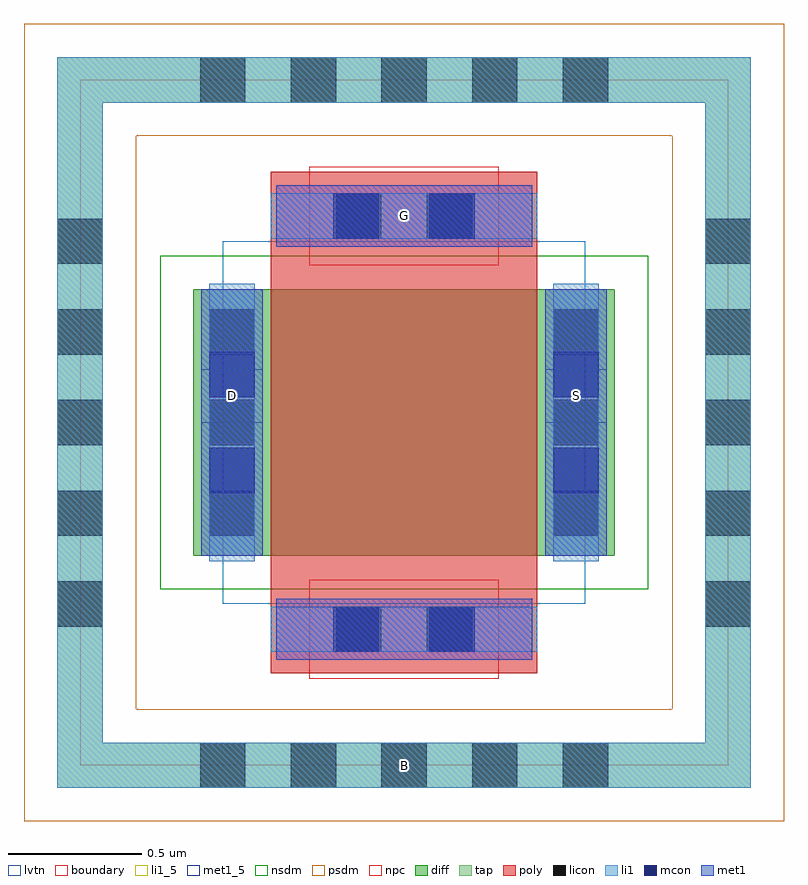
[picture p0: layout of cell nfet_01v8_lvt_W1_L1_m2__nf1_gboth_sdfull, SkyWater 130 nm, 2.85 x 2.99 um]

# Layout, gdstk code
import gdstk
lib = gdstk.Library(unit=1e-6, precision=1e-09)
def R(c, l, rs):  # rectangles x0, y0, x1, y1
    for r in rs: c.add(gdstk.rectangle(r[:2], r[2:], *l))
def A(c, l, x, y, w, h, nx, ny, dx, dy):  # array of equal rectangles
    R(c, l, [(x+i*dx, y+j*dy, x+i*dx+w, y+j*dy+h) for i in range(nx) for j in range(ny)])
diff = (65, 20)
tap = (65, 44)
poly = (66, 20)
licon = (66, 44)
li1_5 = (67, 5)
li1 = (67, 20)
mcon = (67, 44)
met1_5 = (68, 5)
met1 = (68, 20)
nsdm = (93, 44)
psdm = (94, 20)
npc = (95, 20)
lvtn = (125, 44)
boundary = (235, 4)

sky130_fd_pr__nfet_01v8_ = lib.new_cell('sky130_fd_pr__nfet_01v8_lvt_G6PFY8')
R(sky130_fd_pr__nfet_01v8_, diff, [(-0.79,-0.5,0.79,0.5)])
R(sky130_fd_pr__nfet_01v8_, tap, [(-1.3,-1.37,1.3,-1.2), (-1.3,-1.2,-1.13,1.2), (1.13,-1.2,1.3,1.2), (-1.3,1.2,1.3,1.37)])
R(sky130_fd_pr__nfet_01v8_, poly, [(-0.5,-0.94,0.5,0.94)])
A(sky130_fd_pr__nfet_01v8_, licon, -0.765, -1.37, 0.17, 0.17, 5, 2, 0.34, 2.57)
A(sky130_fd_pr__nfet_01v8_, licon, -1.3, -0.765, 0.17, 0.17, 1, 5, 0, 0.34)
A(sky130_fd_pr__nfet_01v8_, licon, 1.13, -0.765, 0.17, 0.17, 1, 5, 0, 0.34)
A(sky130_fd_pr__nfet_01v8_, licon, -0.73, -0.425, 0.17, 0.17, 1, 3, 0, 0.34)
A(sky130_fd_pr__nfet_01v8_, licon, 0.56, -0.425, 0.17, 0.17, 1, 3, 0, 0.34)
R(sky130_fd_pr__nfet_01v8_, licon, [(-0.255,-0.86,-0.085,-0.69), (0.085,-0.86,0.255,-0.69), (-0.255,0.69,-0.085,0.86), (0.085,0.69,0.255,0.86)])
R(sky130_fd_pr__nfet_01v8_, li1, [(-1.3,-1.37,1.3,-1.2), (-1.3,-1.2,-1.13,1.2), (1.13,-1.2,1.3,1.2), (-0.5,-0.86,0.5,-0.69), (-0.73,-0.52,-0.56,0.52), (0.56,-0.52,0.73,0.52), (-0.5,0.69,0.5,0.86), (-1.3,1.2,1.3,1.37)])
R(sky130_fd_pr__nfet_01v8_, mcon, [(-0.265,-0.86,-0.095,-0.69), (0.095,-0.86,0.265,-0.69), (-0.73,-0.265,-0.56,-0.095), (0.56,-0.265,0.73,-0.095), (-0.73,0.095,-0.56,0.265), (0.56,0.095,0.73,0.265), (-0.265,0.69,-0.095,0.86), (0.095,0.69,0.265,0.86)])
R(sky130_fd_pr__nfet_01v8_, met1, [(-0.48,-0.89,0.48,-0.66), (-0.76,-0.5,-0.53,0.5), (0.53,-0.5,0.76,0.5), (-0.48,0.66,0.48,0.89)])
R(sky130_fd_pr__nfet_01v8_, nsdm, [(-0.915,-0.625,0.915,0.625)])
R(sky130_fd_pr__nfet_01v8_, psdm, [(-1.425,-1.495,1.425,-1.075), (-1.425,-1.075,-1.005,1.075), (1.005,-1.075,1.425,1.075), (-1.425,1.075,1.425,1.495)])
R(sky130_fd_pr__nfet_01v8_, npc, [(-0.355,-0.96,0.355,-0.59), (-0.355,0.59,0.355,0.96)])
R(sky130_fd_pr__nfet_01v8_, lvtn, [(-0.68,-0.68,0.68,0.68)])
R(sky130_fd_pr__nfet_01v8_, boundary, [(-1.215,-1.285,1.215,1.285)])
sky130_fd_pr__nfet_01v8_.add(gdstk.Label('B', (0,-1.285), layer=67, texttype=5))
sky130_fd_pr__nfet_01v8_.add(gdstk.Label('D', (-0.645,0), layer=67, texttype=5))
sky130_fd_pr__nfet_01v8_.add(gdstk.Label('S', (0.645,0), layer=67, texttype=5))
sky130_fd_pr__nfet_01v8_.add(gdstk.Label('G', (0,0.775), layer=67, texttype=5))

nfet_01v8_lvt_w1_l1_m2__ = lib.new_cell('nfet_01v8_lvt_W1_L1_m2__nf1_gboth_sdfull')
R(nfet_01v8_lvt_w1_l1_m2__, li1_5, [(1.13,-0.085,1.3,0.085)])
R(nfet_01v8_lvt_w1_l1_m2__, li1, [(1.13,-0.085,1.3,0.085)])
R(nfet_01v8_lvt_w1_l1_m2__, met1_5, [(0.455,1.285,0.685,1.485), (1.745,1.285,1.975,1.485), (0.735,1.945,1.695,2.175)])
R(nfet_01v8_lvt_w1_l1_m2__, met1, [(0.455,1.285,0.685,1.485), (1.745,1.285,1.975,1.485), (0.735,1.945,1.695,2.175)])
nfet_01v8_lvt_w1_l1_m2__.add(gdstk.Reference(sky130_fd_pr__nfet_01v8_, (1.215,1.285)))
nfet_01v8_lvt_w1_l1_m2__.add(gdstk.Label('D', (0.57,1.385), layer=68, texttype=5))
nfet_01v8_lvt_w1_l1_m2__.add(gdstk.Label('S', (1.86,1.385), layer=68, texttype=5))
nfet_01v8_lvt_w1_l1_m2__.add(gdstk.Label('G', (1.215,2.06), layer=68, texttype=5))
nfet_01v8_lvt_w1_l1_m2__.add(gdstk.Label('B', (1.215,0), layer=67, texttype=5))

lib.write_gds('nfet_01v8_lvt_W1_L1_m2__nf1_gboth_sdfull.gds')
